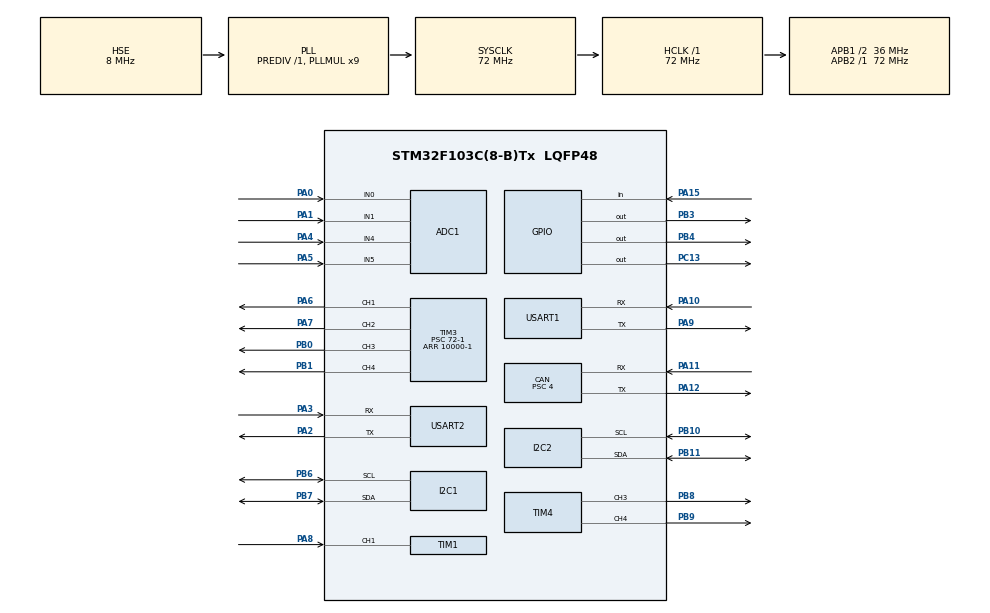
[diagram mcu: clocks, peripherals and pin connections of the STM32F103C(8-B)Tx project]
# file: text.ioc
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ADC1.Channel-0\#ChannelRegularConversion=ADC_CHANNEL_0
ADC1.Channel-1\#ChannelRegularConversion=ADC_CHANNEL_1
ADC1.Channel-2\#ChannelRegularConversion=ADC_CHANNEL_4
ADC1.Channel-3\#ChannelRegularConversion=ADC_CHANNEL_5
ADC1.ContinuousConvMode=ENABLE
ADC1.ExternalTrigConv=ADC_SOFTWARE_START
ADC1.NbrOfConversion=4
ADC1.NbrOfConversionFlag=1
ADC1.Rank-0\#ChannelRegularConversion=1
ADC1.Rank-1\#ChannelRegularConversion=2
ADC1.Rank-2\#ChannelRegularConversion=3
ADC1.Rank-3\#ChannelRegularConversion=4
ADC1.SamplingTime-0\#ChannelRegularConversion=ADC_SAMPLETIME_55CYCLES_5
ADC1.SamplingTime-1\#ChannelRegularConversion=ADC_SAMPLETIME_55CYCLES_5
ADC1.SamplingTime-2\#ChannelRegularConversion=ADC_SAMPLETIME_55CYCLES_5
ADC1.SamplingTime-3\#ChannelRegularConversion=ADC_SAMPLETIME_55CYCLES_5
ADC1.master=1
CAN.BS1=CAN_BS1_6TQ
CAN.BS2=CAN_BS2_2TQ
CAN.CalculateBaudRate=1000000
CAN.CalculateTimeBit=1000
CAN.CalculateTimeQuantum=111.11111111111111
CAN.Prescaler=4
Dma.ADC1.2.Direction=DMA_PERIPH_TO_MEMORY
Dma.ADC1.2.Instance=DMA1_Channel1
Dma.ADC1.2.MemDataAlignment=DMA_MDATAALIGN_HALFWORD
Dma.ADC1.2.MemInc=DMA_MINC_ENABLE
Dma.ADC1.2.Mode=DMA_CIRCULAR
Dma.ADC1.2.PeriphDataAlignment=DMA_PDATAALIGN_HALFWORD
Dma.ADC1.2.PeriphInc=DMA_PINC_DISABLE
Dma.ADC1.2.Priority=DMA_PRIORITY_LOW
Dma.Request0=USART1_RX
Dma.Request1=USART1_TX
Dma.Request2=ADC1
Dma.Request3=USART2_RX
Dma.Request4=USART2_TX
Dma.USART1_RX.0.Direction=DMA_PERIPH_TO_MEMORY
Dma.USART1_RX.0.Instance=DMA1_Channel5
Dma.USART1_RX.0.MemDataAlignment=DMA_MDATAALIGN_BYTE
Dma.USART1_RX.0.MemInc=DMA_MINC_ENABLE
Dma.USART1_RX.0.Mode=DMA_NORMAL
Dma.USART1_RX.0.PeriphDataAlignment=DMA_PDATAALIGN_BYTE
Dma.USART1_RX.0.PeriphInc=DMA_PINC_DISABLE
Dma.USART1_RX.0.Priority=DMA_PRIORITY_LOW
Dma.USART1_TX.1.Direction=DMA_MEMORY_TO_PERIPH
Dma.USART1_TX.1.Instance=DMA1_Channel4
Dma.USART1_TX.1.MemDataAlignment=DMA_MDATAALIGN_BYTE
Dma.USART1_TX.1.MemInc=DMA_MINC_ENABLE
Dma.USART1_TX.1.Mode=DMA_NORMAL
Dma.USART1_TX.1.PeriphDataAlignment=DMA_PDATAALIGN_BYTE
Dma.USART1_TX.1.PeriphInc=DMA_PINC_DISABLE
Dma.USART1_TX.1.Priority=DMA_PRIORITY_LOW
Dma.USART2_RX.3.Direction=DMA_PERIPH_TO_MEMORY
Dma.USART2_RX.3.Instance=DMA1_Channel6
Dma.USART2_RX.3.MemDataAlignment=DMA_MDATAALIGN_BYTE
Dma.USART2_RX.3.MemInc=DMA_MINC_ENABLE
Dma.USART2_RX.3.Mode=DMA_NORMAL
Dma.USART2_RX.3.PeriphDataAlignment=DMA_PDATAALIGN_BYTE
Dma.USART2_RX.3.PeriphInc=DMA_PINC_DISABLE
Dma.USART2_RX.3.Priority=DMA_PRIORITY_LOW
Dma.USART2_TX.4.Direction=DMA_MEMORY_TO_PERIPH
Dma.USART2_TX.4.Instance=DMA1_Channel7
Dma.USART2_TX.4.MemDataAlignment=DMA_MDATAALIGN_BYTE
Dma.USART2_TX.4.MemInc=DMA_MINC_ENABLE
Dma.USART2_TX.4.Mode=DMA_NORMAL
Dma.USART2_TX.4.PeriphDataAlignment=DMA_PDATAALIGN_BYTE
Dma.USART2_TX.4.PeriphInc=DMA_PINC_DISABLE
Dma.USART2_TX.4.Priority=DMA_PRIORITY_LOW
FREERTOS.Tasks01=oled,24,128,app_oled_task,As weak,NULL,Dynamic,NULL,NULL;system,25,128,app_sys_task,As external,NULL,Dynamic,NULL,NULL;task,24,128,app_task,As external,NULL,Dynamic,NULL,NULL;botton,24,128,app_botton_task,As external,NULL,Dynamic,NULL,NULL
FREERTOS.configTOTAL_HEAP_SIZE=4096
FREERTOS.configUSE_NEWLIB_REENTRANT=1
I2C1.I2C_Mode=I2C_Fast
I2C2.I2C_Mode=I2C_Fast
Mcu.Family=STM32F1
Mcu.Name=STM32F103C(8-B)Tx
Mcu.Package=LQFP48
NVIC.CAN1_RX1_IRQn=true\:5\:0\:false\:false\:true\:true\:true\:true\:true
NVIC.DMA1_Channel1_IRQn=true\:5\:0\:false\:false\:true\:true\:false\:true\:true
NVIC.DMA1_Channel4_IRQn=true\:5\:0\:false\:false\:true\:true\:false\:true\:true
NVIC.DMA1_Channel5_IRQn=true\:5\:0\:false\:false\:true\:true\:false\:true\:true
NVIC.DMA1_Channel6_IRQn=true\:5\:0\:false\:false\:true\:true\:false\:true\:true
NVIC.DMA1_Channel7_IRQn=true\:5\:0\:false\:false\:true\:true\:false\:true\:true
NVIC.PriorityGroup=NVIC_PRIORITYGROUP_4
NVIC.TIM1_CC_IRQn=true\:5\:0\:false\:false\:true\:true\:true\:true\:true
NVIC.TIM2_IRQn=true\:15\:0\:false\:false\:true\:false\:false\:true\:true
NVIC.TimeBase=TIM2_IRQn
NVIC.TimeBaseIP=TIM2
NVIC.USART1_IRQn=true\:5\:0\:false\:false\:true\:true\:true\:true\:true
NVIC.USART2_IRQn=true\:5\:0\:false\:false\:true\:true\:true\:true\:true
NVIC.USB_LP_CAN1_RX0_IRQn=true\:5\:0\:false\:false\:true\:true\:true\:true\:true
PA0-WKUP.Signal=ADCx_IN0
PA1.Signal=ADCx_IN1
PA10.Mode=Asynchronous
PA10.Signal=USART1_RX
PA11.Mode=CAN_Activate
PA11.Signal=CAN_RX
PA12.Mode=CAN_Activate
PA12.Signal=CAN_TX
PA13.Mode=Serial_Wire
PA13.Signal=SYS_JTMS-SWDIO
PA14.Mode=Serial_Wire
PA14.Signal=SYS_JTCK-SWCLK
PA15.GPIO_PuPd=GPIO_PULLUP
PA15.Signal=GPIO_Input
PA2.Mode=Asynchronous
PA2.Signal=USART2_TX
PA3.Mode=Asynchronous
PA3.Signal=USART2_RX
PA4.Signal=ADCx_IN4
PA5.Signal=ADCx_IN5
PA6.Signal=S_TIM3_CH1
PA7.Signal=S_TIM3_CH2
PA8.Signal=S_TIM1_CH1
PA9.Mode=Asynchronous
PA9.Signal=USART1_TX
PB0.Signal=S_TIM3_CH3
PB1.Signal=S_TIM3_CH4
PB10.Mode=I2C
PB10.Signal=I2C2_SCL
PB11.Mode=I2C
PB11.Signal=I2C2_SDA
PB3.PinState=GPIO_PIN_SET
PB3.Signal=GPIO_Output
PB4.PinState=GPIO_PIN_SET
PB4.Signal=GPIO_Output
PB6.Mode=I2C
PB6.Signal=I2C1_SCL
PB7.Mode=I2C
PB7.Signal=I2C1_SDA
PB8.Signal=S_TIM4_CH3
PB9.Signal=S_TIM4_CH4
PC13-TAMPER-RTC.PinState=GPIO_PIN_SET
PC13-TAMPER-RTC.Signal=GPIO_Output
PD0-OSC_IN.Mode=HSE-External-Oscillator
PD0-OSC_IN.Signal=RCC_OSC_IN
PD1-OSC_OUT.Mode=HSE-External-Oscillator
PD1-OSC_OUT.Signal=RCC_OSC_OUT
ProjectManager.HeapSize=0x200
ProjectManager.StackSize=0x400
ProjectManager.TargetToolchain=STM32CubeIDE
RCC.ADCPresc=RCC_ADCPCLK2_DIV6
RCC.AHBFreq_Value=72000000
RCC.APB1CLKDivider=RCC_HCLK_DIV2
RCC.APB1Freq_Value=36000000
RCC.APB1TimFreq_Value=72000000
RCC.APB2Freq_Value=72000000
RCC.APB2TimFreq_Value=72000000
RCC.HCLKFreq_Value=72000000
RCC.PLLMUL=RCC_PLL_MUL9
RCC.PLLSourceVirtual=RCC_PLLSOURCE_HSE
RCC.SYSCLKFreq_VALUE=72000000
RCC.SYSCLKSource=RCC_SYSCLKSOURCE_PLLCLK
RCC.USBFreq_Value=72000000
RTC.Date=20
RTC.Hours=5
RTC.Minutes=20
RTC.Month=RTC_MONTH_MAY
RTC.Seconds=52
RTC.WeekDay=RTC_WEEKDAY_THURSDAY
RTC.Year=25
SH.ADCx_IN0.0=ADC1_IN0,IN0
SH.ADCx_IN1.0=ADC1_IN1,IN1
SH.ADCx_IN4.0=ADC1_IN4,IN4
SH.ADCx_IN5.0=ADC1_IN5,IN5
SH.S_TIM1_CH1.0=TIM1_CH1,Input_Capture1_from_TI1
SH.S_TIM3_CH1.0=TIM3_CH1,PWM Generation1 CH1
SH.S_TIM3_CH2.0=TIM3_CH2,PWM Generation2 CH2
SH.S_TIM3_CH3.0=TIM3_CH3,PWM Generation3 CH3
SH.S_TIM3_CH4.0=TIM3_CH4,PWM Generation4 CH4
SH.S_TIM4_CH3.0=TIM4_CH3,PWM Generation3 CH3
SH.S_TIM4_CH4.0=TIM4_CH4,PWM Generation4 CH4
TIM1.Channel-Input_Capture1_from_TI1=TIM_CHANNEL_1
TIM1.Channel-Input_Capture2_from_TI1_63=TIM_CHANNEL_2
TIM1.ICPolarity_CH2=TIM_INPUTCHANNELPOLARITY_FALLING
TIM1.Prescaler=72-1
TIM3.Channel-PWM\ Generation1\ CH1=TIM_CHANNEL_1
TIM3.Channel-PWM\ Generation2\ CH2=TIM_CHANNEL_2
TIM3.Channel-PWM\ Generation3\ CH3=TIM_CHANNEL_3
TIM3.Channel-PWM\ Generation4\ CH4=TIM_CHANNEL_4
TIM3.Period=10000-1
TIM3.Prescaler=72-1
TIM4.Channel-PWM\ Generation3\ CH3=TIM_CHANNEL_3
TIM4.Channel-PWM\ Generation4\ CH4=TIM_CHANNEL_4
USART1.VirtualMode=VM_ASYNC
USART2.VirtualMode=VM_ASYNC
VP_FREERTOS_VS_CMSIS_V2.Mode=CMSIS_V2
VP_RTC_VS_RTC_Activate.Mode=RTC_Enabled
VP_RTC_VS_RTC_Calendar.Mode=RTC_Calendar
VP_SYS_VS_tim2.Mode=TIM2
VP_TIM1_VS_ClockSourceINT.Mode=Internal
VP_TIM1_VS_indirect_ch1.Mode=Input_Capture2_from_TI1_63
VP_TIM3_VS_ClockSourceINT.Mode=Internal
VP_TIM4_VS_ClockSourceINT.Mode=Internal
board=custom

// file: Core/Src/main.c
/* USER CODE BEGIN Header */
/**
  ******************************************************************************
  * @file           : main.c
  * @brief          : Main program body
  ******************************************************************************
  * @attention
  *
  * Copyright (c) 2025 STMicroelectronics.
  * All rights reserved.
  *
  * This software is licensed under terms that can be found in the LICENSE file
  * in the root directory of this software component.
  * If no LICENSE file comes with this software, it is provided AS-IS.
  *
  ******************************************************************************
  */
/* USER CODE END Header */
#include "main.h"
#include "cmsis_os.h"
#include "adc.h"
#include "can.h"
#include "dma.h"
#include "i2c.h"
#include "rtc.h"
#include "tim.h"
#include "usart.h"
#include "gpio.h"

/* USER CODE BEGIN Includes */
#include "bsp_adc.h"
#include "bsp_buzzer.h"
#include "bsp_can.h"
#include "bsp_led.h"
#include "bsp_tim.h"
#include "bsp_time.h"
#include "bsp_uart.h"
#include "OLED/oled.h"
/* USER CODE END Includes */

void SystemClock_Config(void);
void MX_FREERTOS_Init(void);

int main(void)
{

  /* MCU Configuration--------------------------------------------------------*/

  /* Reset of all peripherals, Initializes the Flash interface and the Systick. */
  HAL_Init();

  /* Configure the system clock */
  SystemClock_Config();

  /* Initialize all configured peripherals */
  MX_GPIO_Init();
  MX_DMA_Init();
  MX_ADC1_Init();
  MX_I2C1_Init();
  MX_I2C2_Init();
  MX_TIM3_Init();
  MX_USART1_UART_Init();
  MX_CAN_Init();
  MX_TIM4_Init();
  MX_TIM1_Init();
  MX_USART2_UART_Init();
  MX_RTC_Init();
  /* USER CODE BEGIN 2 */
  bsp_buzzer_init();
  bsp_led_init();
  bsp_adc_init();
  // bsp_can_init(E_CAN1, &hcan);
  bsp_uart_init(E_UART_DEBUG, &huart1);
  bsp_uart_init(E_UART_UART2, &huart2);
  HAL_TIM_IC_Start_IT(&htim1, TIM_CHANNEL_1);
  HAL_TIM_IC_Start_IT(&htim1, TIM_CHANNEL_2);
  bsp_led_set(255, 0, 0);
  /* USER CODE END 2 */

  /* Init scheduler */
  osKernelInitialize();

  /* Call init function for freertos objects (in cmsis_os2.c) */
  MX_FREERTOS_Init();

  /* Start scheduler */
  osKernelStart();

  /* We should never get here as control is now taken by the scheduler */

  /* Infinite loop */
  while (1)
  {

  }
}

void SystemClock_Config(void)
{
  RCC_OscInitTypeDef RCC_OscInitStruct = {0};
  RCC_ClkInitTypeDef RCC_ClkInitStruct = {0};
  RCC_PeriphCLKInitTypeDef PeriphClkInit = {0};

  /** Initializes the RCC Oscillators according to the specified parameters
  * in the RCC_OscInitTypeDef structure.
  */
  RCC_OscInitStruct.OscillatorType = RCC_OSCILLATORTYPE_LSI|RCC_OSCILLATORTYPE_HSE;
  RCC_OscInitStruct.HSEState = RCC_HSE_ON;
  RCC_OscInitStruct.HSEPredivValue = RCC_HSE_PREDIV_DIV1;
  RCC_OscInitStruct.HSIState = RCC_HSI_ON;
  RCC_OscInitStruct.LSIState = RCC_LSI_ON;
  RCC_OscInitStruct.PLL.PLLState = RCC_PLL_ON;
  RCC_OscInitStruct.PLL.PLLSource = RCC_PLLSOURCE_HSE;
  RCC_OscInitStruct.PLL.PLLMUL = RCC_PLL_MUL9;
  if (HAL_RCC_OscConfig(&RCC_OscInitStruct) != HAL_OK)
  {
    Error_Handler();
  }

  /** Initializes the CPU, AHB and APB buses clocks
  */
  RCC_ClkInitStruct.ClockType = RCC_CLOCKTYPE_HCLK|RCC_CLOCKTYPE_SYSCLK
                              |RCC_CLOCKTYPE_PCLK1|RCC_CLOCKTYPE_PCLK2;
  RCC_ClkInitStruct.SYSCLKSource = RCC_SYSCLKSOURCE_PLLCLK;
  RCC_ClkInitStruct.AHBCLKDivider = RCC_SYSCLK_DIV1;
  RCC_ClkInitStruct.APB1CLKDivider = RCC_HCLK_DIV2;
  RCC_ClkInitStruct.APB2CLKDivider = RCC_HCLK_DIV1;

  if (HAL_RCC_ClockConfig(&RCC_ClkInitStruct, FLASH_LATENCY_2) != HAL_OK)
  {
    Error_Handler();
  }
  PeriphClkInit.PeriphClockSelection = RCC_PERIPHCLK_RTC|RCC_PERIPHCLK_ADC;
  PeriphClkInit.RTCClockSelection = RCC_RTCCLKSOURCE_LSI;
  PeriphClkInit.AdcClockSelection = RCC_ADCPCLK2_DIV6;
  if (HAL_RCCEx_PeriphCLKConfig(&PeriphClkInit) != HAL_OK)
  {
    Error_Handler();
  }
}

void HAL_TIM_PeriodElapsedCallback(TIM_HandleTypeDef *htim)
{
  if (htim->Instance == TIM2)
  {
    HAL_IncTick();
  }
}

void Error_Handler(void)
{
  __disable_irq();
  while (1)
  {
  }
}

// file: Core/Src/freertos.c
/* USER CODE BEGIN Header */
/**
  ******************************************************************************
  * File Name          : freertos.c
  * Description        : Code for freertos applications
  ******************************************************************************
  * @attention
  *
  * Copyright (c) 2025 STMicroelectronics.
  * All rights reserved.
  *
  * This software is licensed under terms that can be found in the LICENSE file
  * in the root directory of this software component.
  * If no LICENSE file comes with this software, it is provided AS-IS.
  *
  ******************************************************************************
  */
/* USER CODE END Header */

#include "FreeRTOS.h"
#include "task.h"
#include "main.h"
#include "cmsis_os.h"

/* USER CODE BEGIN Variables */
/* Definitions for botton */
/* USER CODE END Variables */
/* Definitions for oled */
osThreadId_t oledHandle;
const osThreadAttr_t oled_attributes = {
  .name = "oled",
  .stack_size = 128 * 4,
  .priority = (osPriority_t) osPriorityNormal,
};
/* Definitions for system */
osThreadId_t systemHandle;
const osThreadAttr_t system_attributes = {
  .name = "system",
  .stack_size = 128 * 4,
  .priority = (osPriority_t) osPriorityNormal1,
};
/* Definitions for task */
osThreadId_t taskHandle;
const osThreadAttr_t task_attributes = {
  .name = "task",
  .stack_size = 128 * 4,
  .priority = (osPriority_t) osPriorityNormal,
};
/* Definitions for botton */
osThreadId_t bottonHandle;
const osThreadAttr_t botton_attributes = {
  .name = "botton",
  .stack_size = 128 * 4,
  .priority = (osPriority_t) osPriorityNormal,
};

void app_oled_task(void *argument);
extern void app_sys_task(void *argument);
extern void app_task(void *argument);
extern void app_botton_task(void *argument);

void MX_FREERTOS_Init(void); /* (MISRA C 2004 rule 8.1) */

void MX_FREERTOS_Init(void) {

  /* Create the thread(s) */
  /* creation of oled */
  oledHandle = osThreadNew(app_oled_task, NULL, &oled_attributes);

  /* creation of system */
  systemHandle = osThreadNew(app_sys_task, NULL, &system_attributes);

  /* creation of task */
  taskHandle = osThreadNew(app_task, NULL, &task_attributes);

  /* creation of botton */
  bottonHandle = osThreadNew(app_botton_task, NULL, &botton_attributes);

}

__weak void app_oled_task(void *argument)
{
  for(;;)
  {
    osDelay(1);
  }
}
